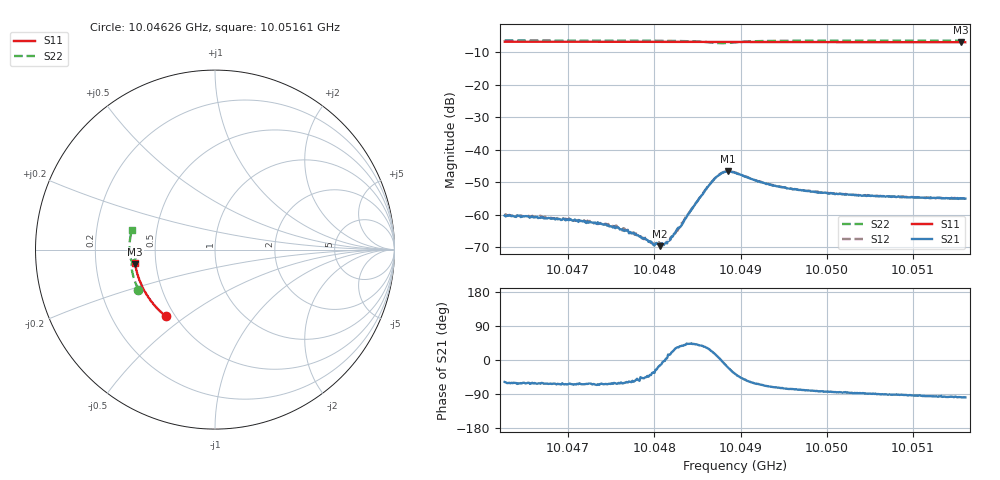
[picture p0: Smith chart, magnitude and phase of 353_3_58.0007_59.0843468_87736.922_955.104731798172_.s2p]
#  HZ  S  RI  R  50.00
! Rohde & Schwarz Vector Network Analyzer
! Rohde-Schwarz,ZNB20-2Port,1311601062101988,3.16
! Created: UTC 3/21/2024, 1:06:06 AM
! freq[Hz]  re:S11  im:S11  re:S21  im:S21  re:S12  im:S12  re:S22  im:S22
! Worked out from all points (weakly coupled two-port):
!   401 points, 10.04626 GHz to 10.05161 GHz, reference 50 ohm
!   highest |S21| = -46.69 dB at 10.04886 GHz (marker M1); lowest = -69.7 dB at 10.04807 GHz (marker M2)
!   lowest |S11| = -6.9 dB at 10.05155 GHz (marker M3), VSWR 2.65, Z = 19 - j3.82 ohm
!   |S11| at or under -10 dB: nowhere
!   |S22| runs from -7.2 to -6.4 dB; largest |S21 - S12| = 0.0003
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1.0046264e10  -0.2724 -0.3724  0.000515 -0.000825  0.000559 -0.000817  -0.4267 -0.2226
1.0046665e10  -0.2927 -0.3554  0.000426 -0.000794  0.00048 -0.00082  -0.4379 -0.1982
1.0047159e10  -0.3164 -0.3331  0.000352 -0.000723  0.000413 -0.000711  -0.4496 -0.1668
1.0047373e10  -0.3262 -0.3229  0.000326 -0.00065  0.000413 -0.000623  -0.4541 -0.1526
1.0047546e10  -0.3338 -0.3144  0.000298 -0.000546  0.00036 -0.000569  -0.4573 -0.1411
1.0047787e10  -0.3441 -0.3022  0.000297 -0.00039  0.000338 -0.000388  -0.4612 -0.1241
1.0047974e10  -0.352 -0.2927  0.0003 -0.000207  0.000312 -0.000203  -0.4635 -0.1103
1.0048054e10  -0.3551 -0.2885  0.000342 -9.88e-05  0.000373 -6.61e-05  -0.4641 -0.1042
1.0048067e10  -0.3556 -0.2876  0.000319 -7.94e-05  0.000328 -5.87e-05  -0.4641 -0.1032
1.0048134e10  -0.3583 -0.2842  0.000373 2.28e-05  0.000374 3.43e-05  -0.4646 -0.0978
1.0048241e10  -0.3625 -0.2786  0.000451 0.00026  0.000424 0.000294  -0.4647 -0.0892
1.0048321e10  -0.3654 -0.2742  0.000558 0.000437  0.000543 0.000513  -0.464 -0.082
1.0048575e10  -0.3749 -0.2603  0.0018 0.00127  0.00175 0.00141  -0.4533 -0.0594
1.0048695e10  -0.3789 -0.2536  0.00337 0.00106  0.00334 0.00127  -0.4398 -0.0559
1.0048775e10  -0.3815 -0.2493  0.00431 -5.87e-05  0.00433 0.000239  -0.4324 -0.0629
1.0048855e10  -0.3842 -0.245  0.00435 -0.0016  0.00448 -0.00135  -0.4352 -0.0726
1.0048935e10  -0.387 -0.2405  0.00355 -0.00261  0.00375 -0.00242  -0.4444 -0.0764
1.0049363e10  -0.4008 -0.216  0.000934 -0.00268  0.00109 -0.00267  -0.4716 -0.0454
1.004983e10  -0.4137 -0.1882  0.000368 -0.00224  0.000514 -0.00225  -0.4764 -0.0095
1.0050725e10  -0.4334 -0.1328  -2.78e-05 -0.00193  4.5e-05 -0.00192  -0.4738 0.0523
1.0051553e10  -0.4448 -0.0799  -0.000255 -0.00178  -0.00015 -0.00178  -0.4642 0.1067
1.0051606e10  -0.4454 -0.0764  -0.00027 -0.00175  -0.000177 -0.00177  -0.4634 0.1102
